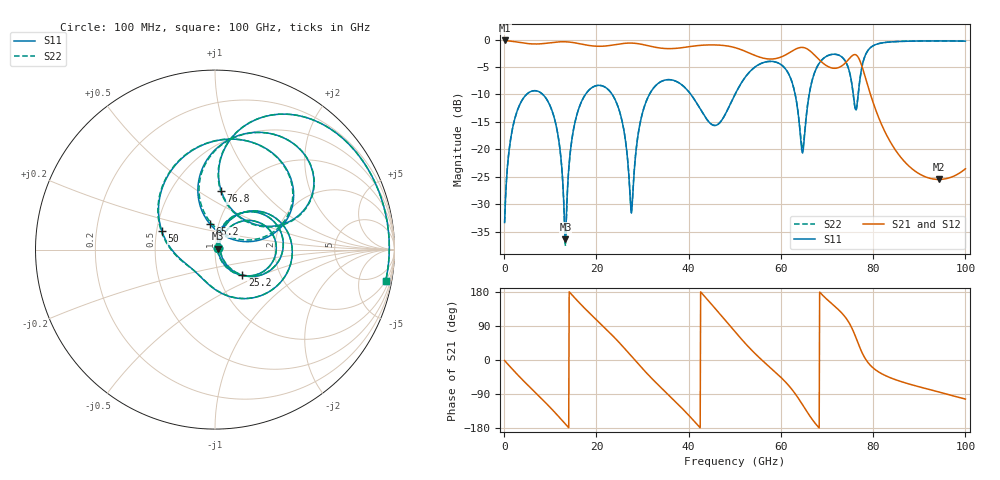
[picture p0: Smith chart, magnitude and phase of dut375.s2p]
! Touchstone file exported from HFSS 2026.1.0
!  File:  C:/ffzhzh/LocalFiles/Ansys_Project_Files/temp_train_TSV_RDL_375_1783714186_45164.aedt
!  Generated:  04:18:16 AM Jul 11, 2026
!  Design:  TSV_RDL
!  Project:  temp_train_TSV_RDL_375_1783714186_45164
! Variables:
!  h_bsmrdl = 2.64um
!  h_ox = 20um
!  h_rdl = 5um
!  h_sub = 87.67um
!  h_tmrdl = 3.65um
!  h_tsv = 87.67um
!  h_via = 3um
!  l_bsmrdl = 641.84um
!  l_sub = 3912.32um
!  l_tmrdl = 363.55um
!  m_sub = 200um
!  pitch = 42.93um
!  r_tsv = 15um
!  s_tmrdl = 10um
!  w_bsmrdl = 22.37um
!  w_sub = 500um
!  w_tmrdl = 21.83um
!  x_tsv_center1 = 374.465um
!  x_tsv_center2 = 1038.675um
!  x_tsv_center3 = 1424.055um
!  x_tsv_center4 = 2088.265um
!  x_tsv_center5 = 2473.645um
!  x_tsv_center6 = 3137.855um
# GHz S MA R 50.000000
! Terminal data exported
! Port[1] = TM_RDL1_1_T1
! Port[2] = TM_RDL5_1_T1
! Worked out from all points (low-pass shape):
!   1000 points, 100 MHz to 100 GHz, reference 50 ohm
!   highest |S21| = -0.17 dB at 100 MHz (marker M1); lowest = -25.5 dB at 94.2 GHz (marker M2)
!   |S21| within 3 dB of the highest: start of sweep to 55.25 GHz; 60.09 GHz to 67.69 GHz (7.592 GHz wide, 11.9 % of centre) (the widest 2 of 3)
!   lowest |S11| = -36.4 dB at 13.3 GHz (marker M3), VSWR 1.03, Z = 51.4 + j0.533 ohm
!   |S11| at or under -10 dB: 8.37 GHz to 17.63 GHz (9.256 GHz wide, 71.2 % of centre); 23.42 GHz to 31.49 GHz (8.073 GHz wide, 29.4 % of centre); 40.47 GHz to 50.05 GHz (9.582 GHz wide, 21.2 % of centre) (the widest 3 of 6)
!   |S22| runs from -37.7 to -0.3 dB; largest |S21 - S12| = 8.2e-13
!   S11 on the Smith chart (normalised r, x): 100 MHz: 1.04, +0.02; 25.2 GHz: 1.29, -0.39; 50 GHz: 0.53, +0.12; 65.2 GHz: 0.91, +0.26; 76.8 GHz: 0.86, +0.63; 100 GHz: 2, -11
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0.1  0.02151 27.2  0.9811 -1.5  0.9811 -1.5  0.02151 27.2
! Gamma 0 0 0 0
! Port Impedance 50 0 50 0
2.3  0.1892 51.2  0.9558 -31.0  0.9558 -31.0  0.1892 51.2
6.8  0.3416 0.6  0.9111 -86.3  0.9111 -86.3  0.3416 0.5
11  0.1839 -47.5  0.9452 -138.4  0.9452 -138.4  0.184 -48.0
13.3  0.01513 20.0  0.9541 -169.2  0.9541 -169.2  0.01309 21.0
16.8  0.2736 50.0  0.9082 144.6  0.9082 144.6  0.2733 50.5
25.2  0.2084 -43.3  0.9138 42.7  0.9138 42.7  0.2084 -42.7
27.6  0.02617 10.3  0.9287 10.0  0.9287 10.0  0.02774 10.7
29.8  0.1994 61.3  0.9052 -20.1  0.9052 -20.1  0.1998 61.0
33.4  0.3986 21.5  0.8416 -65.6  0.8416 -65.6  0.3988 21.4
38  0.4007 -30.1  0.8374 -120.4  0.8374 -120.4  0.4008 -29.9
42.6  0.2299 -87.1  0.8858 179.7  0.8858 179.7  0.2302 -86.4
50  0.313 160.9  0.845 75.4  0.845 75.4  0.3124 162.1
50.1  0.3191 159.5  0.8427 74.0  0.8427 74.0  0.3185 160.6
58.1  0.6319 65.3  0.6647 -24.5  0.6647 -24.5  0.6316 66.0
65.2  0.1446 101.0  0.8393 -127.8  0.8393 -127.8  0.1511 98.7
66.7  0.4115 102.2  0.7628 -155.2  0.7628 -155.2  0.4138 101.2
73.4  0.6822 36.4  0.5831 121.3  0.5831 121.3  0.6823 36.1
76.8  0.3293 84.0  0.6849 42.3  0.6849 42.3  0.3263 84.3
83.4  0.9486 38.8  0.1234 -45.2  0.1234 -45.2  0.9483 38.9
94.2  0.9717 5.8  0.05308 -84.3  0.05308 -84.3  0.9716 5.9
100  0.9667 -10.4  0.06643 -103.1  0.06643 -103.1  0.9665 -10.4
